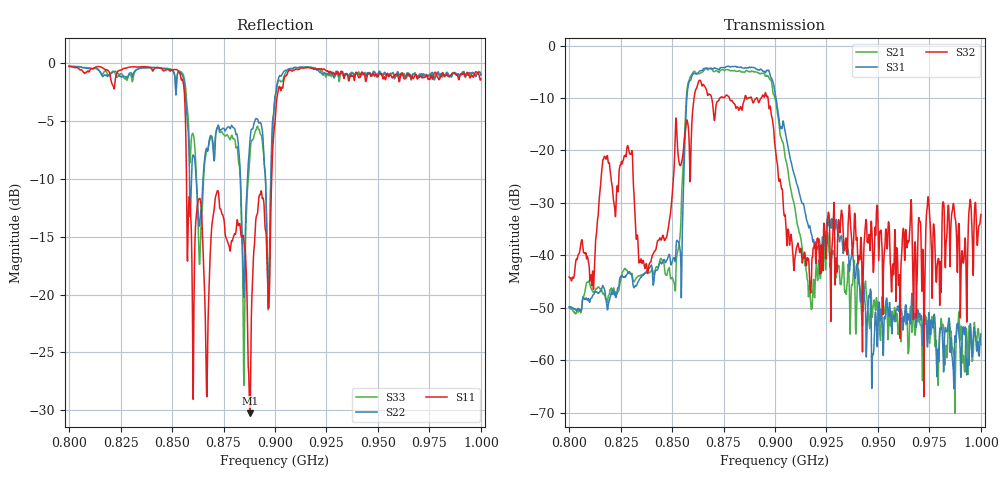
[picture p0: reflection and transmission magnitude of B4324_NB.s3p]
! Matrix data file written by TouchstoneData, EPCOS AG
! FILENAME: "newformat_AA61A_X6Y7_NB.s3p"
! COMMENT: "(AA61A_X6Y7_NB.s3p) Epcos AG 9/27/2012 1:33:"
! INFO: nport=3, nfreq=1601
! DATE: "Wed Oct 24 16:52:42 2012"
! USER: "Michael Schemies"
! port | pin | signal
!  1  |  1  |  in
!  2  |  3  |  out
!  3  |  4  |  out
# MHZ S MA R 50
! freq  magS11 angS11  magS12 angS12  magS13 angS13  ...
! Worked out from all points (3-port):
!   1601 points, 800 MHz to 1 GHz, reference 50 ohm
!   strongest paths, dB at 800 MHz, 850 MHz, 900 MHz, 950 MHz, 1 GHz:
!     S32: -44.1, -28.8, -19.0, -33.7, -32.2
!     S31: -49.8, -41.3, -9.0, -52.9, -55.0
!     S21: -49.9, -44.2, -10.1, -52.6, -57.0
!   lowest |S11| = -30.3 dB at 887.9 MHz (marker M1), VSWR 1.06, Z = 47.9 + j2.16 ohm
!   |S11| at or under -10 dB: 857 MHz to 898.4 MHz (41.36 MHz wide, 4.71 % of centre)
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800  0.9701 -106.5  0.003231 157.8  0.003188 159.6
     0.003193 157.6  0.9719 -95.8  0.006156 167.3
     0.003234 159.6  0.006212 167.2  0.9727 -95.6
817.5  0.9391 -115.7  0.004031 146.3  0.00442 141.3
       0.004028 147.0  0.8885 -104.1  0.08636 162.5
       0.004431 141.0  0.08676 162.6  0.9266 -104.0
837.625  0.967 -129.6  0.00685 140.2  0.007026 140.0
         0.006832 140.4  0.9569 -116.7  0.008177 123.8
         0.007004 139.9  0.008223 123.7  0.958 -115.5
854.625  0.8494 162.6  0.03791 75.9  0.005926 -166.1
         0.03764 75.8  0.9003 -170.8  0.07694 -86.6
         0.005963 -166.1  0.07741 -86.6  0.9149 -163.2
858.875  0.2356 132.7  0.505 -130.8  0.4651 46.4
         0.503 -130.8  0.2167 165.1  0.05357 -64.7
         0.4658 46.4  0.05393 -65.1  0.3846 178.2
869.875  0.2172 -72.4  0.5757 -3.9  0.598 176.5
         0.574 -3.9  0.4298 -155.2  0.2589 -178.7
         0.5986 176.4  0.2606 -178.9  0.4521 -157.3
887.875  0.03068 132.8  0.5624 142.1  0.6189 -36.1
         0.5606 142.1  0.4684 26.0  0.3173 43.2
         0.6198 -36.2  0.3189 43.1  0.405 25.7
900  0.5546 29.2  0.3139 -36.7  0.3543 140.4
     0.3127 -36.6  0.706 30.2  0.1117 95.8
     0.355 140.3  0.1125 95.7  0.7193 33.4
917.25  0.9564 -51.7  0.003736 -88.2  0.01746 52.3
        0.003736 -88.5  0.9626 -45.0  0.004522 44.0
        0.0175 52.3  0.004531 44.0  0.9623 -44.3
1000  0.8571 -83.5  0.001453 66.1  0.001734 92.3
      0.001412 65.9  0.8952 -76.0  0.02441 120.7
      0.001783 91.5  0.02452 120.6  0.889 -76.7
